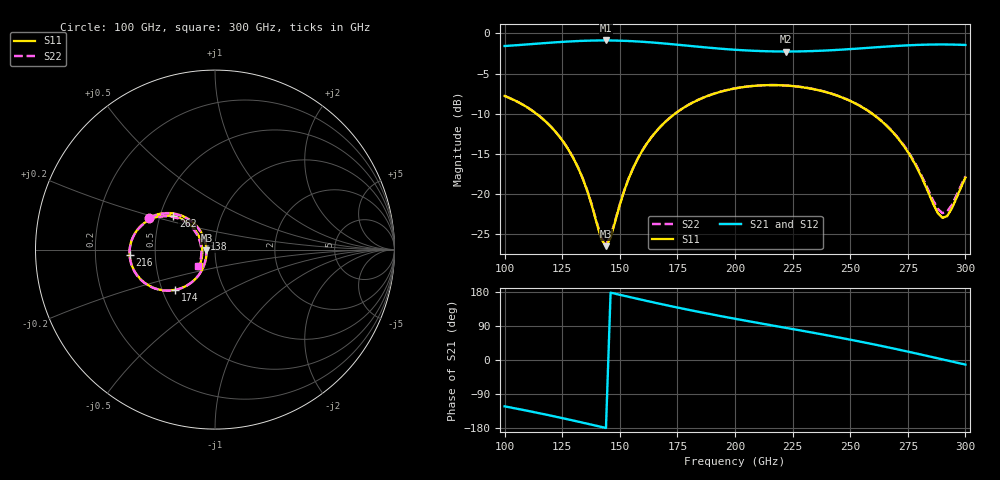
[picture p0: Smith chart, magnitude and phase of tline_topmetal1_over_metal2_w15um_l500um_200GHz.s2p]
#  GHZ S DB R 50
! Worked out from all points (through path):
!   101 points, 100 GHz to 300 GHz, reference 50 ohm
!   highest |S21| = -0.89 dB at 144 GHz (marker M1); lowest = -2.3 dB at 222 GHz (marker M2)
!   group delay of S21, straight-line fit = 3.4 ps
!   lowest |S11| = -26.5 dB at 144 GHz (marker M3), VSWR 1.10, Z = 45.5 - j0.308 ohm
!   |S11| at or under -10 dB: 113.8 GHz to 173.9 GHz (60.13 GHz wide, 41.8 % of centre); 259.5 GHz to end of sweep
!   |S22| runs from -26.2 to -6.4 dB; largest |S21 - S12| = 1e-14
!   S11 on the Smith chart (normalised r, x): 100 GHz: 0.44, +0.19; 138 GHz: 0.88, +0.10; 174 GHz: 0.58, -0.29; 216 GHz: 0.35, -0.03; 262 GHz: 0.59, +0.24; 300 GHz: 0.83, -0.15
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100  -7.79 154.3  -1.58 -122.3  -1.58 -122.3  -7.79 154.5
120  -11.58 134.3  -1.17 -146.8  -1.17 -146.8  -11.57 134.8
128  -14.59 128.6  -1.02 -157.3  -1.02 -157.3  -14.58 129.1
134  -18.12 128.4  -0.94 -165.5  -0.94 -165.5  -18.09 129.2
138  -21.54 135.2  -0.91 -171.1  -0.91 -171.1  -21.47 136.1
142  -25.60 160.1  -0.89 -176.7  -0.89 -176.7  -25.41 161.0
144  -26.46 -175.9  -0.89 -179.5  -0.89 -179.5  -26.23 -175.7
156  -16.63 -122.3  -0.99 163.8  -0.99 163.8  -16.60 -122.5
168  -11.50 -129.2  -1.24 147.5  -1.24 147.5  -11.49 -129.1
174  -9.99 -134.9  -1.39 139.8  -1.39 139.8  -9.98 -134.8
186  -8.03 -147.0  -1.72 125.0  -1.72 125.0  -8.02 -146.8
200  -6.85 -160.9  -2.05 108.9  -2.05 108.9  -6.85 -160.6
216  -6.44 -176.3  -2.25 91.4  -2.25 91.4  -6.43 -175.9
222  -6.49 178.0  -2.26 84.9  -2.26 84.9  -6.48 178.5
234  -6.94 166.7  -2.20 71.8  -2.20 71.8  -6.92 167.3
248  -8.16 153.7  -2.00 56.0  -2.00 56.0  -8.14 154.4
262  -10.54 141.4  -1.73 39.0  -1.73 39.0  -10.50 142.4
268  -12.14 137.2  -1.61 31.3  -1.61 31.3  -12.08 138.4
276  -15.20 134.8  -1.48 20.8  -1.48 20.8  -15.08 136.5
290  -22.94 178.2  -1.39 1.7  -1.39 1.7  -22.35 178.6
294  -21.83 -153.4  -1.40 -3.9  -1.40 -3.9  -21.39 -154.9
300  -17.94 -133.8  -1.45 -12.1  -1.45 -12.1  -17.76 -135.4
